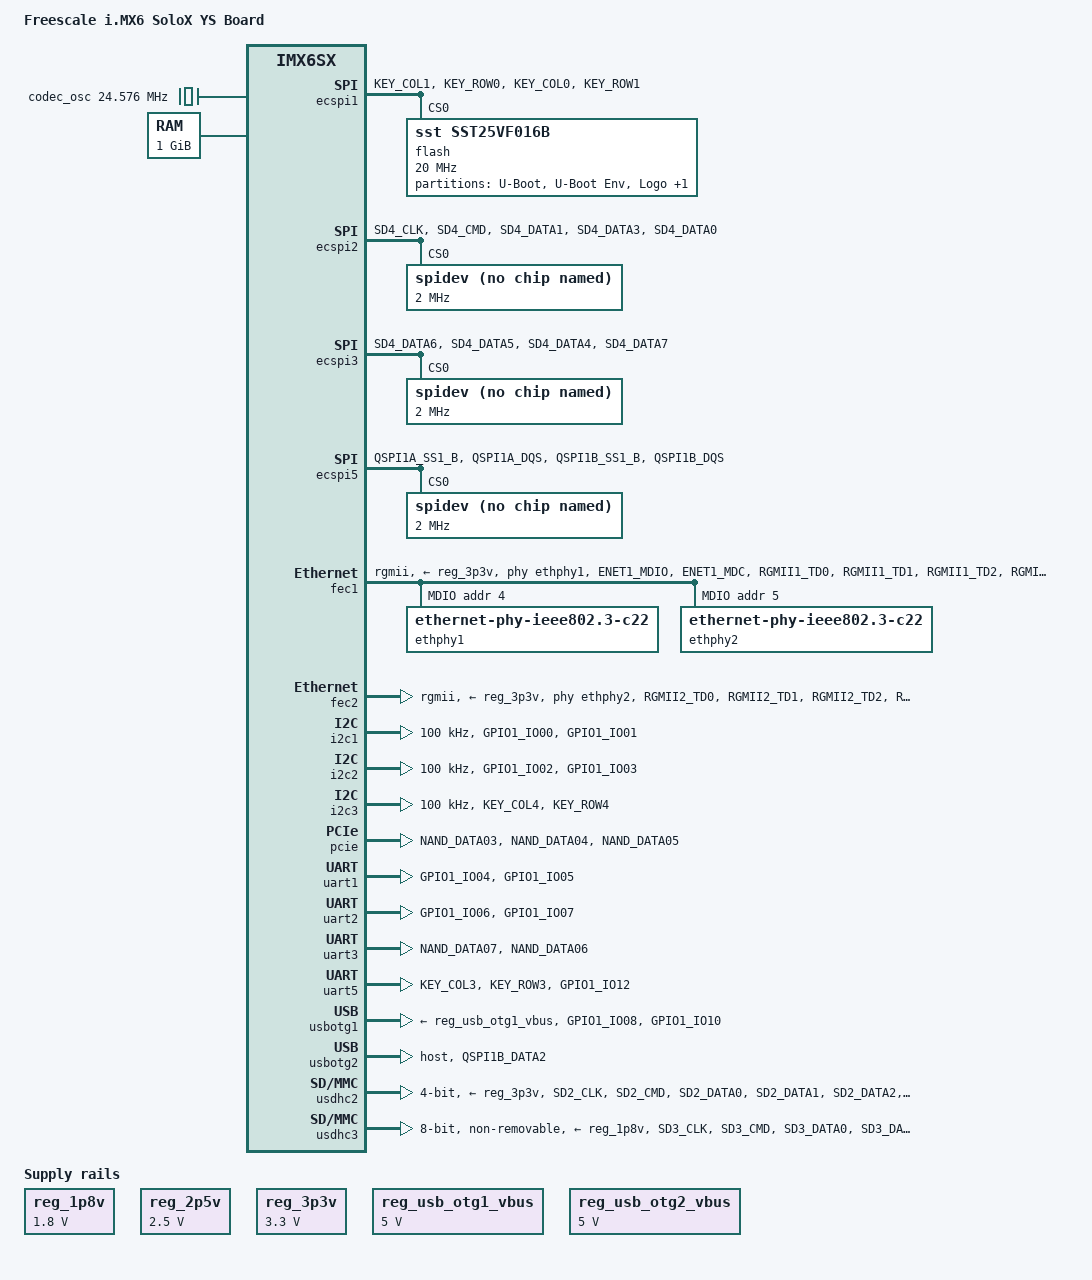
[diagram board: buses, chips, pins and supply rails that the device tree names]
/*
 * Copyright (C) 2017 Boundary Devices, Inc.
 *
 * This program is free software; you can redistribute it and/or modify
 * it under the terms of the GNU General Public License version 2 as
 * published by the Free Software Foundation.
 */

/dts-v1/;

#include <dt-bindings/gpio/gpio.h>
#include <dt-bindings/input/input.h>
#include "imx6sx.dtsi"

&iomuxc {
	pinctrl-names = "default";
	pinctrl-0 = <&pinctrl_hog>;

	iomuxc_ys: iomuxc-ysgrp {
		status = "okay";
	};
};

&iomuxc_ys {
	pinctrl_ecspi1: ecspi1grp {
		fsl,pins = <
			MX6SX_PAD_KEY_COL1__ECSPI1_MISO		0x100b1
			MX6SX_PAD_KEY_ROW0__ECSPI1_MOSI		0x100b1
			MX6SX_PAD_KEY_COL0__ECSPI1_SCLK		0x100b1
#define GP_ECSPI1_NOR_CS		<&gpio2 16 GPIO_ACTIVE_LOW>
			MX6SX_PAD_KEY_ROW1__GPIO2_IO_16		0x0b0b1
		>;
	};

	pinctrl_ecspi2: ecspi2grp {
		fsl,pins = <
			MX6SX_PAD_SD4_CLK__ECSPI2_MISO		0x100b1
			MX6SX_PAD_SD4_CMD__ECSPI2_MOSI		0x100b1
			MX6SX_PAD_SD4_DATA1__ECSPI2_SCLK	0x100b1
			MX6SX_PAD_SD4_DATA3__ECSPI2_RDY		0x100b1
#define GP_ECSPI2_CS			<&gpio6 14 GPIO_ACTIVE_LOW>
			MX6SX_PAD_SD4_DATA0__GPIO6_IO_14	0x0b0b1
		>;
	};

	pinctrl_ecspi3: ecspi3grp {
		fsl,pins = <
			MX6SX_PAD_SD4_DATA6__ECSPI3_MISO	0x100b1
			MX6SX_PAD_SD4_DATA5__ECSPI3_MOSI	0x100b1
			MX6SX_PAD_SD4_DATA4__ECSPI3_SCLK	0x100b1
#define GP_ECSPI3_CS			<&gpio6 21 GPIO_ACTIVE_LOW>
			MX6SX_PAD_SD4_DATA7__GPIO6_IO_21	0x0b0b1
		>;
	};

	pinctrl_ecspi5: ecspi5grp {
		fsl,pins = <
			MX6SX_PAD_QSPI1A_SS1_B__ECSPI5_MISO	0x100b1
			MX6SX_PAD_QSPI1A_DQS__ECSPI5_MOSI	0x100b1
			MX6SX_PAD_QSPI1B_SS1_B__ECSPI5_SCLK	0x100b1
#define GP_ECSPI5_CS			<&gpio4 28 GPIO_ACTIVE_LOW>
			MX6SX_PAD_QSPI1B_DQS__GPIO4_IO_28	0x0b0b1
		>;
	};

	pinctrl_enet1: enet1grp {
		fsl,pins = <
			MX6SX_PAD_ENET1_MDIO__ENET1_MDIO	0x1b0b0
			MX6SX_PAD_ENET1_MDC__ENET1_MDC		0x1b0b0
			MX6SX_PAD_RGMII1_TD0__ENET1_TX_DATA_0	0x30b1
			MX6SX_PAD_RGMII1_TD1__ENET1_TX_DATA_1	0x30b1
			MX6SX_PAD_RGMII1_TD2__ENET1_TX_DATA_2	0x30b1
			MX6SX_PAD_RGMII1_TD3__ENET1_TX_DATA_3	0x30b1
			MX6SX_PAD_RGMII1_TXC__ENET1_RGMII_TXC	0x30b1
			MX6SX_PAD_RGMII1_TX_CTL__ENET1_TX_EN	0x30b1
			MX6SX_PAD_RGMII1_RD0__ENET1_RX_DATA_0	0x30b1
			MX6SX_PAD_RGMII1_RD1__ENET1_RX_DATA_1	0x30b1
			MX6SX_PAD_RGMII1_RX_CTL__ENET1_RX_EN	0x30b1
			MX6SX_PAD_RGMII1_RD2__ENET1_RX_DATA_2	0x30b1
			MX6SX_PAD_RGMII1_RD3__ENET1_RX_DATA_3	0xb0b1
			MX6SX_PAD_RGMII1_RXC__ENET1_RX_CLK	0xb0b1
#define GP_RGMII1_PHY_RESET		<&gpio2 7 GPIO_ACTIVE_LOW>
			MX6SX_PAD_ENET2_CRS__GPIO2_IO_7		0xb0b0
#define GPIRQ_RGMII1_PHY		<&gpio2 4 IRQ_TYPE_LEVEL_LOW>
			MX6SX_PAD_ENET1_RX_CLK__GPIO2_IO_4	0xb0b0
			MX6SX_PAD_ENET1_TX_CLK__GPIO2_IO_5	0xb0b0
		>;
	};

	pinctrl_enet2: enet2grp {
		fsl,pins = <
			MX6SX_PAD_RGMII2_TD0__ENET2_TX_DATA_0	0x30b1
			MX6SX_PAD_RGMII2_TD1__ENET2_TX_DATA_1	0x30b1
			MX6SX_PAD_RGMII2_TD2__ENET2_TX_DATA_2	0x30b1
			MX6SX_PAD_RGMII2_TD3__ENET2_TX_DATA_3	0x30b1
			MX6SX_PAD_RGMII2_TXC__ENET2_RGMII_TXC	0x30b1
			MX6SX_PAD_RGMII2_TX_CTL__ENET2_TX_EN	0x30b1
			MX6SX_PAD_RGMII2_RD0__ENET2_RX_DATA_0	0xb0b1
			MX6SX_PAD_RGMII2_RD1__ENET2_RX_DATA_1	0x30b1
			MX6SX_PAD_RGMII2_RX_CTL__ENET2_RX_EN	0x30b1
			MX6SX_PAD_RGMII2_RD2__ENET2_RX_DATA_2	0x30b1
			MX6SX_PAD_RGMII2_RD3__ENET2_RX_DATA_3	0xb0b1
			MX6SX_PAD_RGMII2_RXC__ENET2_RX_CLK	0xb0b1
#define GP_RGMII2_PHY_RESET		<&gpio2 6 GPIO_ACTIVE_LOW>
			MX6SX_PAD_ENET2_COL__GPIO2_IO_6		0xb0b0
#define GPIRQ_RGMII2_PHY		<&gpio2 8 IRQ_TYPE_LEVEL_LOW>
			MX6SX_PAD_ENET2_RX_CLK__GPIO2_IO_8	0xb0b0
			MX6SX_PAD_ENET2_TX_CLK__GPIO2_IO_9	0xb0b0
		>;
	};

	pinctrl_hog: hoggrp {
		fsl,pins = <
			MX6SX_PAD_GPIO1_IO13__GPIO1_IO_13	0x30b0
			MX6SX_PAD_LCD1_DATA00__GPIO3_IO_1	0x30b0
			MX6SX_PAD_LCD1_DATA02__GPIO3_IO_3	0x30b0
			MX6SX_PAD_LCD1_DATA03__GPIO3_IO_4	0x30b0
			MX6SX_PAD_LCD1_DATA05__GPIO3_IO_6	0x30b0
			MX6SX_PAD_LCD1_DATA06__GPIO3_IO_7	0x30b0
			MX6SX_PAD_LCD1_DATA08__GPIO3_IO_9	0x30b0
			MX6SX_PAD_LCD1_DATA09__GPIO3_IO_10	0x30b0
			MX6SX_PAD_LCD1_DATA10__GPIO3_IO_11	0x30b0
			MX6SX_PAD_LCD1_DATA11__GPIO3_IO_12	0x30b0
			/* Test points */
			MX6SX_PAD_QSPI1A_SS0_B__GPIO4_IO_22	0x30b0
			MX6SX_PAD_QSPI1B_SS0_B__GPIO4_IO_30	0x30b0
			MX6SX_PAD_QSPI1B_SCLK__GPIO4_IO_29	0x30b0
			MX6SX_PAD_QSPI1B_DATA0__GPIO4_IO_24	0x30b0
		>;
	};

	pinctrl_i2c1: i2c1grp {
		fsl,pins = <
			MX6SX_PAD_GPIO1_IO00__I2C1_SCL		0x4001b8b1
			MX6SX_PAD_GPIO1_IO01__I2C1_SDA		0x4001b8b1
		>;
	};

	pinctrl_i2c2: i2c2grp {
		fsl,pins = <
			MX6SX_PAD_GPIO1_IO02__I2C2_SCL		0x4001b8b1
			MX6SX_PAD_GPIO1_IO03__I2C2_SDA		0x4001b8b1
		>;
	};

	pinctrl_i2c3: i2c3grp {
		fsl,pins = <
			MX6SX_PAD_KEY_COL4__I2C3_SCL		0x4001b8b1
			MX6SX_PAD_KEY_ROW4__I2C3_SDA		0x4001b8b1
		>;
	};

	pinctrl_pcie: pciegrp {
		fsl,pins = <
#define GP_PCIE_RESET			<&gpio4 7 GPIO_ACTIVE_LOW>
			MX6SX_PAD_NAND_DATA03__GPIO4_IO_7	0x30b0
#define GP_PCIE_DISABLE			<&gpio4 8 GPIO_ACTIVE_HIGH>
			MX6SX_PAD_NAND_DATA04__GPIO4_IO_8	0x30b0
#define GP_PCIE_WAKE			<&gpio4 9 GPIO_ACTIVE_LOW>
			MX6SX_PAD_NAND_DATA05__GPIO4_IO_9	0x30b0
		>;
	};

	pinctrl_uart1: uart1grp {
		fsl,pins = <
			MX6SX_PAD_GPIO1_IO04__UART1_TX		0x1b0b1
			MX6SX_PAD_GPIO1_IO05__UART1_RX		0x1b0b1
		>;
	};

	pinctrl_uart2: uart2grp {
		fsl,pins = <
			MX6SX_PAD_GPIO1_IO06__UART2_TX		0x1b0b1
			MX6SX_PAD_GPIO1_IO07__UART2_RX		0x1b0b1
		>;
	};

	pinctrl_uart3: uart3grp {
		fsl,pins = <
			MX6SX_PAD_NAND_DATA07__UART3_TX		0x1b0b1
			MX6SX_PAD_NAND_DATA06__UART3_RX		0x1b0b1
		>;
	};

	pinctrl_uart5: uart5grp {
		fsl,pins = <
			MX6SX_PAD_KEY_COL3__UART5_TX		0x1b0b1
			MX6SX_PAD_KEY_ROW3__UART5_RX		0x1b0b1
#define GP_RS485_RXEN		<&gpio1 12 GPIO_ACTIVE_LOW>
			MX6SX_PAD_GPIO1_IO12__GPIO1_IO_12	0x0b0b0
		>;
	};

	pinctrl_usbotg1: usbotg1grp {
		fsl,pins = <
			MX6SX_PAD_GPIO1_IO08__USB_OTG1_OC	0x1b0b0
			MX6SX_PAD_GPIO1_IO10__ANATOP_OTG1_ID	0x170b1
		>;
	};

	pinctrl_usbotg1_vbus: usbotg1-vbusgrp {
		fsl,pins = <
#define GP_USB_OTG1_PWR		<&gpio1 9 GPIO_ACTIVE_HIGH>
			MX6SX_PAD_GPIO1_IO09__GPIO1_IO_9	0x1b0b0
		>;
	};

	pinctrl_usbotg2: usbotg2grp {
		fsl,pins = <
#define GP_USB_HUB_RESET	<&gpio4 26 GPIO_ACTIVE_LOW>
			MX6SX_PAD_QSPI1B_DATA2__GPIO4_IO_26	0xb0b0
		>;
	};

	pinctrl_usbotg2_vbus: usbotg2-vbusgrp {
		fsl,pins = <
#define GP_USB_HOST_PWR_EN	<&gpio1 11 GPIO_ACTIVE_HIGH>
			MX6SX_PAD_GPIO1_IO11__GPIO1_IO_11	0xb0b0
		>;
	};

	pinctrl_usdhc2_50mhz: usdhc2-50mhzgrp {
		fsl,pins = <
			MX6SX_PAD_SD2_CLK__USDHC2_CLK		0x10071
			MX6SX_PAD_SD2_CMD__USDHC2_CMD		0x1f071
			MX6SX_PAD_SD2_DATA0__USDHC2_DATA0	0x1f071
			MX6SX_PAD_SD2_DATA1__USDHC2_DATA1	0x1f071
			MX6SX_PAD_SD2_DATA2__USDHC2_DATA2	0x1f071
			MX6SX_PAD_SD2_DATA3__USDHC2_DATA3	0x1f071
#define GP_USDHC2_CD		<&gpio2 12 GPIO_ACTIVE_LOW>
			MX6SX_PAD_KEY_COL2__GPIO2_IO_12		0x1b0b0
		>;
	};

	pinctrl_usdhc3_50mhz: usdhc3-50mhzgrp {
		fsl,pins = <
			MX6SX_PAD_SD3_CLK__USDHC3_CLK		0x10071
			MX6SX_PAD_SD3_CMD__USDHC3_CMD		0x17071
			MX6SX_PAD_SD3_DATA0__USDHC3_DATA0	0x17071
			MX6SX_PAD_SD3_DATA1__USDHC3_DATA1	0x17071
			MX6SX_PAD_SD3_DATA2__USDHC3_DATA2	0x17071
			MX6SX_PAD_SD3_DATA3__USDHC3_DATA3	0x17071
			MX6SX_PAD_SD3_DATA4__USDHC3_DATA4	0x17071
			MX6SX_PAD_SD3_DATA5__USDHC3_DATA5	0x17071
			MX6SX_PAD_SD3_DATA6__USDHC3_DATA6	0x17071
			MX6SX_PAD_SD3_DATA7__USDHC3_DATA7	0x17071
#define GP_EMMC_RESET		<&gpio2 17 GPIO_ACTIVE_LOW>
			MX6SX_PAD_KEY_ROW2__GPIO2_IO_17		0x0b0b0
		>;
	};

	pinctrl_usdhc3_100mhz: usdhc3-100mhzgrp {
		fsl,pins = <
			MX6SX_PAD_SD3_CLK__USDHC3_CLK		0x100b9
			MX6SX_PAD_SD3_CMD__USDHC3_CMD		0x170b9
			MX6SX_PAD_SD3_DATA0__USDHC3_DATA0	0x170b9
			MX6SX_PAD_SD3_DATA1__USDHC3_DATA1	0x170b9
			MX6SX_PAD_SD3_DATA2__USDHC3_DATA2	0x170b9
			MX6SX_PAD_SD3_DATA3__USDHC3_DATA3	0x170b9
			MX6SX_PAD_SD3_DATA4__USDHC3_DATA4	0x170b9
			MX6SX_PAD_SD3_DATA5__USDHC3_DATA5	0x170b9
			MX6SX_PAD_SD3_DATA6__USDHC3_DATA6	0x170b9
			MX6SX_PAD_SD3_DATA7__USDHC3_DATA7	0x170b9
		>;
	};

	pinctrl_usdhc3_200mhz: usdhc3-200mhzgrp {
		fsl,pins = <
			MX6SX_PAD_SD3_CLK__USDHC3_CLK		0x100f9
			MX6SX_PAD_SD3_CMD__USDHC3_CMD		0x170f9
			MX6SX_PAD_SD3_DATA0__USDHC3_DATA0	0x170f9
			MX6SX_PAD_SD3_DATA1__USDHC3_DATA1	0x170f9
			MX6SX_PAD_SD3_DATA2__USDHC3_DATA2	0x170f9
			MX6SX_PAD_SD3_DATA3__USDHC3_DATA3	0x170f9
			MX6SX_PAD_SD3_DATA4__USDHC3_DATA4	0x170f9
			MX6SX_PAD_SD3_DATA5__USDHC3_DATA5	0x170f9
			MX6SX_PAD_SD3_DATA6__USDHC3_DATA6	0x170f9
			MX6SX_PAD_SD3_DATA7__USDHC3_DATA7	0x170f9
		>;
	};
};

/ {
	model = "Freescale i.MX6 SoloX YS Board";
	compatible = "fsl,imx6sx-ys", "fsl,imx6sx";

	aliases {
		mmc0 = &usdhc2;
		mmc1 = &usdhc3;
	};

	clocks {
	        codec_osc: anaclk2 {
		        #clock-cells = <0>;
		        compatible = "fixed-clock";
		        clock-frequency = <24576000>;
		};
	};

	memory {
		reg = <0x80000000 0x40000000>;
	};

	regulators {
		compatible = "simple-bus";
		#address-cells = <1>;
		#size-cells = <0>;

		reg_1p8v: regulator@0 {
			compatible = "regulator-fixed";
			reg = <0>;
			regulator-name = "1P8V";
			regulator-min-microvolt = <1800000>;
			regulator-max-microvolt = <1800000>;
			regulator-always-on;
		};

		reg_2p5v: regulator@1 {
			compatible = "regulator-fixed";
			reg = <1>;
			regulator-name = "2P5V";
			regulator-min-microvolt = <2500000>;
			regulator-max-microvolt = <2500000>;
			regulator-always-on;
		};

		reg_3p3v: regulator@2 {
			compatible = "regulator-fixed";
			reg = <2>;
			regulator-name = "3P3V";
			regulator-min-microvolt = <3300000>;
			regulator-max-microvolt = <3300000>;
			regulator-always-on;
		};

		reg_usb_otg1_vbus: regulator@3 {
			pinctrl-names = "default";
			pinctrl-0 = <&pinctrl_usbotg1_vbus>;
			compatible = "regulator-fixed";
			reg = <3>;
			regulator-name = "usb_otg1_vbus";
			regulator-min-microvolt = <5000000>;
			regulator-max-microvolt = <5000000>;
			gpio = GP_USB_OTG1_PWR;
			enable-active-high;
		};

		reg_usb_otg2_vbus: regulator@4 {
			pinctrl-names = "default";
			pinctrl-0 = <&pinctrl_usbotg2_vbus>;
			compatible = "regulator-fixed";
			reg = <4>;
			regulator-name = "usb_otg2_vbus";
			regulator-min-microvolt = <5000000>;
			regulator-max-microvolt = <5000000>;
			gpio = GP_USB_HOST_PWR_EN;
			enable-active-high;
		};
	};

	reserved-memory {
		linux,cma {
			size = <0x2000000>;
		};
	};
};

&ecspi1 {
	fsl,spi-num-chipselects = <1>;
	cs-gpios = GP_ECSPI1_NOR_CS;
	pinctrl-names = "default";
	pinctrl-0 = <&pinctrl_ecspi1>;
	status = "okay";

	flash: m25p80@0 {
		compatible = "sst,sst25vf016b";
		spi-max-frequency = <20000000>;
		reg = <0>;
		#address-cells = <1>;
		#size-cells = <1>;
		partition@0 {
			label = "U-Boot";
			reg = <0x0 0xC0000>;
			read-only;
		};
		partition@C0000 {
			label = "U-Boot Env";
			reg = <0xC0000 0x2000>;
			read-only;
		};
		partition@C2000 {
			label = "Logo";
			reg = <0xC2000 0x11e000>;
		};
		partition@1e0000 {
			label = "M4 FW";
			reg = <0x1e0000 0x8000>;
		};
	};
};

&ecspi2 {
	fsl,spi-num-chipselects = <1>;
	cs-gpios = GP_ECSPI2_CS;
	pinctrl-names = "default";
	pinctrl-0 = <&pinctrl_ecspi2>;
	status = "okay";

	spidev@0 {
		compatible = "spidev";
		reg = <0>;
		spi-max-frequency = <2000000>;
	};
};

&ecspi3 {
	fsl,spi-num-chipselects = <1>;
	cs-gpios = GP_ECSPI3_CS;
	pinctrl-names = "default";
	pinctrl-0 = <&pinctrl_ecspi3>;
	status = "okay";

	spidev@0 {
		compatible = "spidev";
		reg = <0>;
		spi-max-frequency = <2000000>;
	};
};

&ecspi5 {
	fsl,spi-num-chipselects = <1>;
	cs-gpios = GP_ECSPI5_CS;
	pinctrl-names = "default";
	pinctrl-0 = <&pinctrl_ecspi5>;
	status = "okay";

	spidev@0 {
		compatible = "spidev";
		reg = <0>;
		spi-max-frequency = <2000000>;
	};
};

&fec1 {
	pinctrl-names = "default";
	pinctrl-0 = <&pinctrl_enet1>;
	phy-mode = "rgmii";
#if 0
	phy-reset-gpios = GP_RGMII1_PHY_RESET;
#endif
	phy-handle = <&ethphy1>;
	phy-supply = <&reg_3p3v>;
	fsl,magic-packet;
	status = "okay";

	mdio {
		#address-cells = <1>;
		#size-cells = <0>;

		ethphy1: ethernet-phy@4 {
			compatible = "ethernet-phy-ieee802.3-c22";
			reg = <4>;
			interrupts-extended = GPIRQ_RGMII1_PHY;
		};

		ethphy2: ethernet-phy@5 {
			compatible = "ethernet-phy-ieee802.3-c22";
			reg = <5>;
			interrupts-extended = GPIRQ_RGMII2_PHY;
		};
	};
};

&fec2 {
	pinctrl-names = "default";
	pinctrl-0 = <&pinctrl_enet2>;
	phy-mode = "rgmii";
#if 0
	phy-reset-gpios = GP_RGMII2_PHY_RESET;
#endif
	phy-handle = <&ethphy2>;
	phy-supply = <&reg_3p3v>;
	fsl,magic-packet;
	status = "okay";
};

&i2c1 {
	clock-frequency = <100000>;
	pinctrl-names = "default";
	pinctrl-0 = <&pinctrl_i2c1>;
	status = "okay";
};

&i2c2 {
	clock-frequency = <100000>;
	pinctrl-names = "default";
	pinctrl-0 = <&pinctrl_i2c2>;
	status = "okay";
};

&i2c3 {
        clock-frequency = <100000>;
	pinctrl-names = "default";
	pinctrl-0 = <&pinctrl_i2c3>;
	status = "okay";
};

&pcie {
	pinctrl-names = "default";
	pinctrl-0 = <&pinctrl_pcie>;
	reset-gpios = GP_PCIE_RESET;
	status = "okay";
};

&uart1 {
	pinctrl-names = "default";
	pinctrl-0 = <&pinctrl_uart1>;
	status = "okay";
};

&uart2 {
	pinctrl-names = "default";
	pinctrl-0 = <&pinctrl_uart2>;
	status = "okay";
};

&uart3 {
	pinctrl-names = "default";
	pinctrl-0 = <&pinctrl_uart3>;
	status = "okay";
};

&uart5 {
	pinctrl-names = "default";
	pinctrl-0 = <&pinctrl_uart5>;
	status = "okay";
};

&usbotg1 {
	vbus-supply = <&reg_usb_otg1_vbus>;
	pinctrl-names = "default";
	pinctrl-0 = <&pinctrl_usbotg1>;
	status = "okay";
};

&usbotg2 {
	pinctrl-names = "default";
	pinctrl-0 = <&pinctrl_usbotg2>;
	dr_mode = "host";
	disable-over-current;
	reset-gpios = GP_USB_HUB_RESET;
	status = "okay";
};

&usdhc2 {
	pinctrl-names = "default";
	pinctrl-0 = <&pinctrl_usdhc2_50mhz>;
	bus-width = <4>;
	cd-gpios = GP_USDHC2_CD;
	keep-power-in-suspend;
	enable-sdio-wakeup;
	vmmc-supply = <&reg_3p3v>;
	status = "okay";
};

&usdhc3 {
	pinctrl-names = "default", "state_100mhz", "state_200mhz";
	pinctrl-0 = <&pinctrl_usdhc3_50mhz>;
	pinctrl-1 = <&pinctrl_usdhc3_100mhz>;
	pinctrl-2 = <&pinctrl_usdhc3_200mhz>;
	bus-width = <8>;
	non-removable;
	vqmmc-1-8-v;
	vmmc-supply = <&reg_1p8v>;
	keep-power-in-suspend;
	status = "okay";
};
